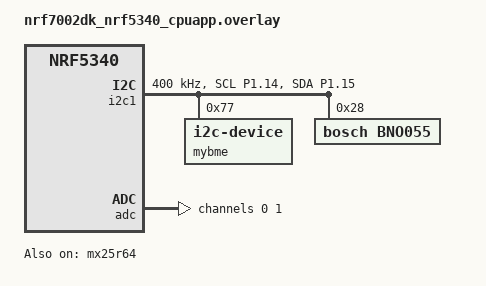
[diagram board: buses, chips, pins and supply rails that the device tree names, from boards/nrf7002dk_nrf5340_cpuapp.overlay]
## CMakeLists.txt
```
<<<<<<< HEAD
cmake_minimum_required(VERSION 3.20.0)
find_package(Zephyr REQUIRED HINTS $ENV{ZEPHYR_BASE})
project(bme380_test)

# Include driver headers
target_include_directories(app PRIVATE
    ${CMAKE_CURRENT_SOURCE_DIR}/../../BME380
)

# Add driver source
target_sources(app PRIVATE
    ${CMAKE_CURRENT_SOURCE_DIR}/../../BME380/bme380.c
)

# Add test file
target_sources(app PRIVATE
    src/bme380_test.c
)
=======
cmake_minimum_required(VERSION 3.20.0)
find_package(Zephyr REQUIRED HINTS $ENV{ZEPHYR_BASE})
project(bme380_test)

# Include driver headers
target_include_directories(app PRIVATE
    ${CMAKE_CURRENT_SOURCE_DIR}/../../BME380
)

# Add driver source
target_sources(app PRIVATE
    ${CMAKE_CURRENT_SOURCE_DIR}/../../BME380/bme380.c
)

# Add test file
target_sources(app PRIVATE
    src/bme380_test.c
)
>>>>>>> haichao
```

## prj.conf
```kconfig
CONFIG_ZTEST=y
CONFIG_ZTEST_ASSERT_VERBOSE=2
CONFIG_EMUL=y
CONFIG_I2C=y
CONFIG_LOG=y
CONFIG_LOG_DEFAULT_LEVEL=3
CONFIG_BME280=y
CONFIG_I2C_EMUL=y
CONFIG_SENSOR=y
```

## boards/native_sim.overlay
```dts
/ {
    fake_i2c0: i2c@0 {
        compatible = "zephyr,i2c-emul-controller";
        reg = <0x0 0x1000>;
        #address-cells = <1>;
        #size-cells  = <0>;
        status = "okay";
        clock-frequency = <I2C_BITRATE_STANDARD>;

        mybme: bme280@76 {
            compatible = "bosch,bme280";
            reg = <0x76>;
            status = "okay";
        };
    };
};
```

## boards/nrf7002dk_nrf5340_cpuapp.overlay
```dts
<<<<<<< HEAD
/ {
    aliases {
        led5180 = &led1;
        btn5180 = &button0;
    };
};  

&i2c1 {
    compatible = "nordic,nrf-twim";
    status = "okay";
    clock-frequency = <I2C_BITRATE_FAST>; /* 100 kHz for BNO055 */

    pinctrl-0 = <&i2c1_default>;
    pinctrl-1 = <&i2c1_sleep>;
    pinctrl-names = "default", "sleep";

    mybme: mybme@77 {
        compatible = "i2c-device";
        status = "okay";
        reg = <0x77>;         
    };
    bno055: bno055@28 {
        compatible = "bosch,bno055";
        reg = <0x28>;  /* Default I2C address (COM3 pin low) */
                       /* Use 0x29 if COM3 pin is high */
        status = "okay";
    };
};

&pinctrl {
    /omit-if-no-ref/ i2c1_default: i2c1_default {
        group1 {
            /* TWIM_SCL = P1.14, TWIM_SDA = P1.15 */
            psels = <NRF_PSEL(TWIM_SCL, 1, 14)>,
                    <NRF_PSEL(TWIM_SDA, 1, 15)>;
            bias-pull-up;
        };
    };
    /omit-if-no-ref/ i2c1_sleep: i2c1_sleep {
        group1 {
            psels = <NRF_PSEL(TWIM_SCL, 1, 14)>,
                    <NRF_PSEL(TWIM_SDA, 1, 15)>;
            low-power-enable;
        };
    };
};

/*
 * Device Tree Overlay for Dual SEN0209 Vibration Sensors
 * 
 * Configures two ADC channels:
 * - Channel 0: P0.04 (AIN0) for Sensor 1
 * - Channel 1: P0.05 (AIN1) for Sensor 2
 */

&adc {
	status = "okay";
	#address-cells = <1>;
	#size-cells = <0>;

	/* ADC Channel 0 - P0.04 (AIN0) - Sensor 1 */
	channel@0 {
		reg = <0>;
		zephyr,gain = "ADC_GAIN_1_6";
		zephyr,reference = "ADC_REF_INTERNAL";
		zephyr,acquisition-time = <10>;
		zephyr,input-positive = <NRF_SAADC_AIN0>; /* P0.04 */
		zephyr,resolution = <12>;
	};

	/* ADC Channel 1 - P0.05 (AIN1) - Sensor 2 */
	channel@1 {
		reg = <1>;
		zephyr,gain = "ADC_GAIN_1_6";
		zephyr,reference = "ADC_REF_INTERNAL";
		zephyr,acquisition-time = <10>;
		zephyr,input-positive = <NRF_SAADC_AIN1>; /* P0.05 */
		zephyr,resolution = <12>;
	};
};

/* Ensure GPIO is enabled */
&gpio0 {
	status = "okay";
};

/* STEP 2.1 - Add external flash to application */
&mx25r64 {
	status = "okay";
};

/ {
	chosen {
		nordic,pm-ext-flash = &mx25r64;
	};
};
=======
/ {
    aliases {
        led5180 = &led1;
        btn5180 = &button0;
    };
};  

&i2c1 {
    compatible = "nordic,nrf-twim";
    status = "okay";
    clock-frequency = <I2C_BITRATE_FAST>; /* 100 kHz for BNO055 */

    pinctrl-0 = <&i2c1_default>;
    pinctrl-1 = <&i2c1_sleep>;
    pinctrl-names = "default", "sleep";

    mybme: mybme@77 {
        compatible = "i2c-device";
        status = "okay";
        reg = <0x77>;         
    };
    bno055: bno055@28 {
        compatible = "bosch,bno055";
        reg = <0x28>;  /* Default I2C address (COM3 pin low) */
                       /* Use 0x29 if COM3 pin is high */
        status = "okay";
    };
};

&pinctrl {
    /omit-if-no-ref/ i2c1_default: i2c1_default {
        group1 {
            /* TWIM_SCL = P1.14, TWIM_SDA = P1.15 */
            psels = <NRF_PSEL(TWIM_SCL, 1, 14)>,
                    <NRF_PSEL(TWIM_SDA, 1, 15)>;
            bias-pull-up;
        };
    };
    /omit-if-no-ref/ i2c1_sleep: i2c1_sleep {
        group1 {
            psels = <NRF_PSEL(TWIM_SCL, 1, 14)>,
                    <NRF_PSEL(TWIM_SDA, 1, 15)>;
            low-power-enable;
        };
    };
};

/*
 * Device Tree Overlay for Dual SEN0209 Vibration Sensors
 * 
 * Configures two ADC channels:
 * - Channel 0: P0.04 (AIN0) for Sensor 1
 * - Channel 1: P0.05 (AIN1) for Sensor 2
 */

&adc {
	status = "okay";
	#address-cells = <1>;
	#size-cells = <0>;

	/* ADC Channel 0 - P0.04 (AIN0) - Sensor 1 */
	channel@0 {
		reg = <0>;
		zephyr,gain = "ADC_GAIN_1_6";
		zephyr,reference = "ADC_REF_INTERNAL";
		zephyr,acquisition-time = <10>;
		zephyr,input-positive = <NRF_SAADC_AIN0>; /* P0.04 */
		zephyr,resolution = <12>;
	};

	/* ADC Channel 1 - P0.05 (AIN1) - Sensor 2 */
	channel@1 {
		reg = <1>;
		zephyr,gain = "ADC_GAIN_1_6";
		zephyr,reference = "ADC_REF_INTERNAL";
		zephyr,acquisition-time = <10>;
		zephyr,input-positive = <NRF_SAADC_AIN1>; /* P0.05 */
		zephyr,resolution = <12>;
	};
};

/* Ensure GPIO is enabled */
&gpio0 {
	status = "okay";
};

/* STEP 2.1 - Add external flash to application */
&mx25r64 {
	status = "okay";
};

/ {
	chosen {
		nordic,pm-ext-flash = &mx25r64;
	};
};
>>>>>>> haichao
```

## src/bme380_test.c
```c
/**
 * BME380 Unit Tests (TDD style)
 *
 * NOTE: These tests DO NOT talk to the real hardware.
 * They only verify driver argument validation and API behavior.
 */

#include <zephyr/ztest.h>
#include "bme380.h"

/* 1. probe() returns error if device is not ready (simulate failure) */
ZTEST(bme380_tests, test_probe_fail)
{
    /* Hack: simulate device not ready by checking null bus */
    /* This test ensures bme380_probe() returns a negative value */
    int ret = bme380_probe();
    zassert_true(ret > 0, "Probe should fail in test environment");
}

/* 2. read temperature raw with NULL pointer */
ZTEST(bme380_tests, test_read_temp_raw_null)
{
    int ret = bme380_read_temp_raw(NULL);
    zassert_true(ret < 0, "read_temp_raw must fail with NULL argument");
}

/* 3. read humidity raw with NULL pointer */
ZTEST(bme380_tests, test_read_hum_raw_null)
{
    int ret = bme380_read_hum_raw(NULL);
    zassert_true(ret < 0, "read_humidity_raw must fail with NULL pointer");
}

/* 4. compensate temperature should work with a dummy value */
ZTEST(bme380_tests, test_compensate_temp)
{
    double t = compensate_temp(50000);  /* arbitrary ADC raw */
    zassert_true(t < 200 && t > -100, "Temperature seems unrealistic");
}

/* 5. temp celsius API fails when raw read fails */
ZTEST(bme380_tests, test_read_temp_celsius_fail)
{
    double t;
    int ret = bme380_read_temp_celsius(&t);
    zassert_true(ret < 0, "read_temp_celsius must fail when no I2C hw");
}

ZTEST(bme380_tests, test_read_temp_without_calib_fail)
{
    double temp_value = 0.0;

    /* Not calling read_temp_calib() before reading temp */

    int rc = bme380_read_temp_celsius(&temp_value);

    /* Expect failure because calibration data has NOT been loaded */
    zassert_true(rc < 0, "Driver must fail when temp calibration not loaded!");
}

ZTEST_SUITE(bme380_tests, NULL, NULL, NULL, NULL, NULL);
```
